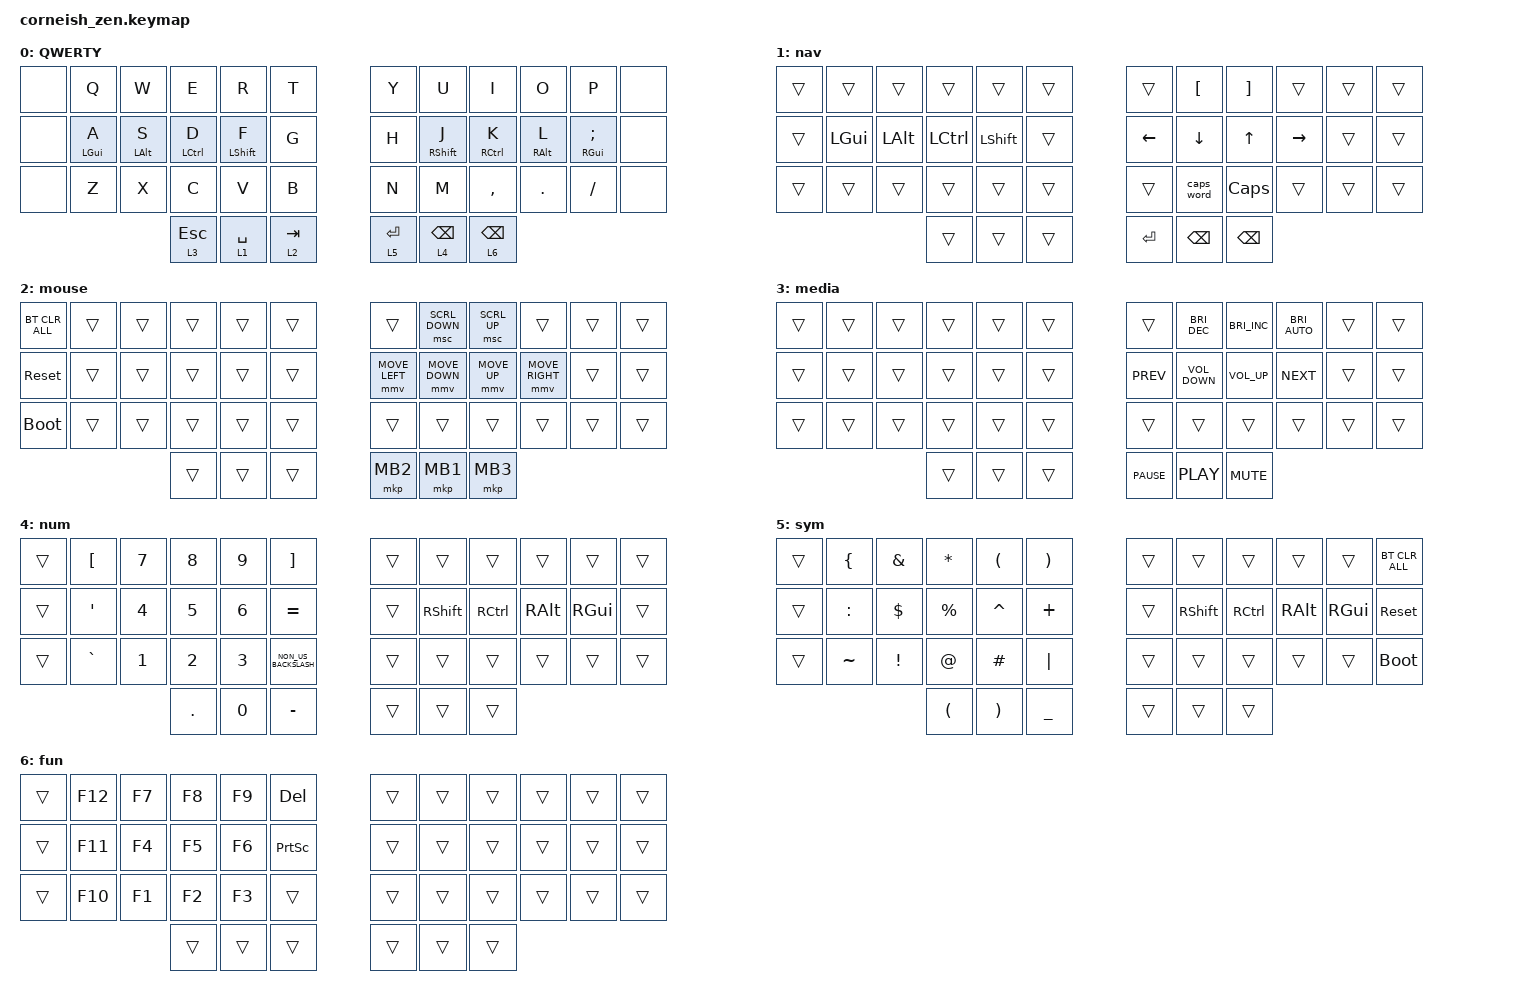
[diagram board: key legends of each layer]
/*
 * Copyright (c) 2020 The ZMK Contributors
 *
 * SPDX-License-Identifier: MIT
 */

#include <behaviors.dtsi>
#include <dt-bindings/zmk/bt.h>
#include <dt-bindings/zmk/keys.h>
#include <dt-bindings/zmk/pointing.h>

/ {
    chosen {
        zmk,matrix_transform = &default_transform;

        // zmk,matrix_transform = &five_column_transform;
    };
};

/ {
    behaviors {
        td0: td0 {
            compatible = "zmk,behavior-tap-dance";
            label = "TD0";
            #binding-cells = <0>;
            bindings = <&kp LEFT_SHIFT>, <&kp CAPS>;
        };
    };

    keymap {
        compatible = "zmk,keymap";

        base {
            display-name = "QWERTY";

            // --------------------------------------------------------------------------------
            // |  TAB |  Q  |  W  |  E  |  R  |  T  |   |  Y  |  U   |  I  |  O  |  P  | BKSP |
            // | CTRL |  A  |  S  |  D  |  F  |  G  |   |  H  |  J   |  K  |  L  |  ;  |  '   | 
            // | SHFT |  Z  |  X  |  C  |  V  |  B  |   |  N  |  M   |  ,  |  .  |  /  | ESC  |
            //                    | GUI | LWR | SPC |   | ENT | RSE  | ALT |

            bindings = <
&none  &kp Q           &kp W           &kp E               &kp R             &kp T        &kp Y        &kp U              &kp I                &kp O            &kp P               &none
&none  &mt LEFT_GUI A  &mt LEFT_ALT S  &mt LEFT_CONTROL D  &mt LEFT_SHIFT F  &kp G        &kp H        &mt RIGHT_SHIFT J  &mt RIGHT_CONTROL K  &mt RIGHT_ALT L  &mt RIGHT_GUI SEMI  &none
&none  &kp Z           &kp X           &kp C               &kp V             &kp B        &kp N        &kp M              &kp COMMA            &kp DOT          &kp FSLH            &none
                                       &lt 3 ESCAPE        &lt 1 SPACE       &lt 2 TAB    &lt 5 ENTER  &lt 4 BACKSPACE    &lt 6 BACKSPACE
            >;
        };

        nav {
            bindings = <
&trans  &trans        &trans        &trans     &trans          &trans    &trans          &kp LEFT_BRACKET  &kp RIGHT_BRACKET  &trans     &trans  &trans
&trans  &kp LEFT_GUI  &kp LEFT_ALT  &kp LCTRL  &kp LEFT_SHIFT  &trans    &kp LEFT_ARROW  &kp DOWN_ARROW    &kp UP_ARROW       &kp RIGHT  &trans  &trans
&trans  &trans        &trans        &trans     &trans          &trans    &trans          &caps_word        &kp CAPSLOCK       &trans     &trans  &trans
                                    &trans     &trans          &trans    &kp RET         &kp BACKSPACE     &kp BACKSPACE
            >;
        };

        mouse {
            bindings = <
&bt BT_CLR_ALL  &trans  &trans  &trans  &trans  &trans    &trans          &msc SCRL_DOWN  &msc SCRL_UP  &trans           &trans  &trans
&sys_reset      &trans  &trans  &trans  &trans  &trans    &mmv MOVE_LEFT  &mmv MOVE_DOWN  &mmv MOVE_UP  &mmv MOVE_RIGHT  &trans  &trans
&bootloader     &trans  &trans  &trans  &trans  &trans    &trans          &trans          &trans        &trans           &trans  &trans
                                &trans  &trans  &trans    &mkp MB2        &mkp MB1        &mkp MB3
            >;
        };

        media {
            bindings = <
&trans  &trans  &trans  &trans  &trans  &trans    &trans       &kp C_BRIGHTNESS_DEC  &kp C_BRIGHTNESS_INC  &kp C_BRIGHTNESS_AUTO  &trans  &trans
&trans  &trans  &trans  &trans  &trans  &trans    &kp C_PREV   &kp C_VOLUME_DOWN     &kp C_VOLUME_UP       &kp C_NEXT             &trans  &trans
&trans  &trans  &trans  &trans  &trans  &trans    &trans       &trans                &trans                &trans                 &trans  &trans
                        &trans  &trans  &trans    &kp C_PAUSE  &kp C_PLAY            &kp C_MUTE
            >;
        };

        num {
            bindings = <
&trans  &kp LEFT_BRACKET  &kp N7        &kp N8        &kp N9        &kp RIGHT_BRACKET       &trans  &trans           &trans     &trans         &trans         &trans
&trans  &kp SQT           &kp NUMBER_4  &kp N5        &kp NUMBER_6  &kp EQUAL               &trans  &kp RIGHT_SHIFT  &kp RCTRL  &kp RIGHT_ALT  &kp RIGHT_GUI  &trans
&trans  &kp GRAVE         &kp N1        &kp NUMBER_2  &kp NUMBER_3  &kp NON_US_BACKSLASH    &trans  &trans           &trans     &trans         &trans         &trans
                                        &kp PERIOD    &kp N0        &kp MINUS               &trans  &trans           &trans
            >;
        };

        sym {
            bindings = <
&trans  &kp LEFT_BRACE  &kp AMPERSAND    &kp ASTERISK          &kp LEFT_PARENTHESIS   &kp RIGHT_PARENTHESIS    &trans  &trans           &trans             &trans         &trans         &bt BT_CLR_ALL
&trans  &kp COLON       &kp DOLLAR       &kp PERCENT           &kp CARET              &kp PLUS                 &trans  &kp RIGHT_SHIFT  &kp RIGHT_CONTROL  &kp RIGHT_ALT  &kp RIGHT_GUI  &sys_reset
&trans  &kp TILDE       &kp EXCLAMATION  &kp AT_SIGN           &kp HASH               &kp PIPE                 &trans  &trans           &trans             &trans         &trans         &bootloader
                                         &kp LEFT_PARENTHESIS  &kp RIGHT_PARENTHESIS  &kp UNDERSCORE           &trans  &trans           &trans
            >;
        };

        fun {
            bindings = <
&trans  &kp F12  &kp F7  &kp F8  &kp F9  &kp DEL            &trans  &trans  &trans  &trans  &trans  &trans
&trans  &kp F11  &kp F4  &kp F5  &kp F6  &kp PRINTSCREEN    &trans  &trans  &trans  &trans  &trans  &trans
&trans  &kp F10  &kp F1  &kp F2  &kp F3  &trans             &trans  &trans  &trans  &trans  &trans  &trans
                         &trans  &trans  &trans             &trans  &trans  &trans
            >;
        };
    };
};
